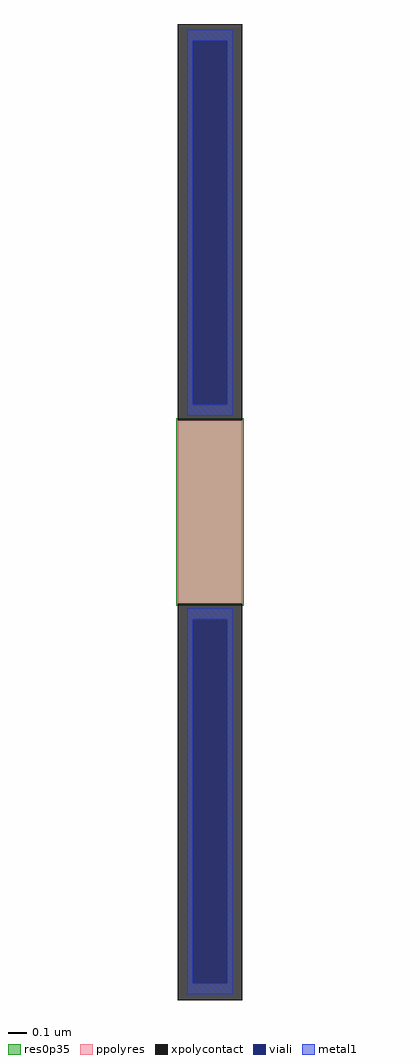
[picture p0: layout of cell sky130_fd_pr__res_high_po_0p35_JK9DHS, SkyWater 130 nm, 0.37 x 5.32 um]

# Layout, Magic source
magic
tech sky130A
magscale 1 2
<< xpolycontact >>
rect -35 100 35 532
rect -35 -532 35 -100
<< ppolyres >>
rect -35 -100 35 100
<< viali >>
rect -19 117 19 514
rect -19 -514 19 -117
<< metal1 >>
rect -25 514 25 526
rect -25 117 -19 514
rect 19 117 25 514
rect -25 105 25 117
rect -25 -117 25 -105
rect -25 -514 -19 -117
rect 19 -514 25 -117
rect -25 -526 25 -514
<< res0p35 >>
rect -37 -102 37 102
<< properties >>
string gencell sky130_fd_pr__res_high_po_0p35
string library sky130
string parameters w 0.350 l 1.0 m 1 nx 1 wmin 0.350 lmin 0.50 rho 319.8 val 2.026k dummy 0 dw 0.0 term 194.82 sterm 0.0 caplen 0 guard 0 glc 1 grc 1 gtc 1 gbc 1 compatible {sky130_fd_pr__res_high_po_0p35  sky130_fd_pr__res_high_po_0p69 sky130_fd_pr__res_high_po_1p41  sky130_fd_pr__res_high_po_2p85 sky130_fd_pr__res_high_po_5p73} snake 0 full_metal 1 wmax 0.350 vias 1 n_guard 0 hv_guard 0 viagb 0 viagt 0 viagl 0 viagr 0
<< end >>
